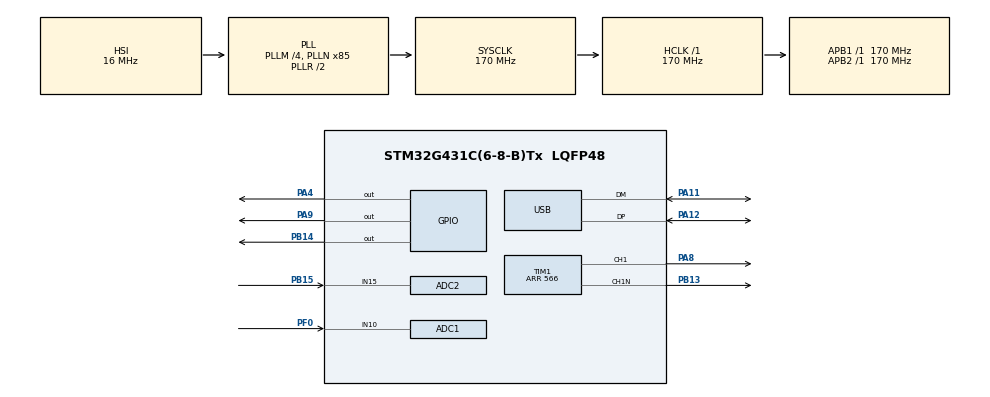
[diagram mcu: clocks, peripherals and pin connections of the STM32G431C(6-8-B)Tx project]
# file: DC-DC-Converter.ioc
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ADC1.Channel-1\#ChannelRegularConversion=ADC_CHANNEL_10
ADC1.ContinuousConvMode=DISABLE
ADC1.EOCSelection=ADC_EOC_SEQ_CONV
ADC1.ExternalTrigConv=ADC_EXTERNALTRIG_T1_TRGO
ADC1.Mode=ADC_DUALMODE_REGSIMULT
ADC1.NbrOfConversionFlag=1
ADC1.OffsetNumber-1\#ChannelRegularConversion=ADC_OFFSET_NONE
ADC1.Rank-1\#ChannelRegularConversion=1
ADC1.SamplingTime-1\#ChannelRegularConversion=ADC_SAMPLETIME_47CYCLES_5
ADC1.master=1
ADC2.Channel-0\#ChannelRegularConversion=ADC_CHANNEL_15
ADC2.ContinuousConvMode=DISABLE
ADC2.EOCSelection=ADC_EOC_SEQ_CONV
ADC2.Mode=ADC_DUALMODE_REGSIMULT
ADC2.NbrOfConversionFlag=1
ADC2.OffsetNumber-0\#ChannelRegularConversion=ADC_OFFSET_NONE
ADC2.Rank-0\#ChannelRegularConversion=1
ADC2.SamplingTime-0\#ChannelRegularConversion=ADC_SAMPLETIME_47CYCLES_5
Mcu.Family=STM32G4
Mcu.Name=STM32G431C(6-8-B)Tx
Mcu.Package=LQFP48
NVIC.PriorityGroup=NVIC_PRIORITYGROUP_4
NVIC.TIM1_UP_TIM16_IRQn=true\:0\:0\:false\:false\:true\:true\:true\:true
NVIC.USB_LP_IRQn=true\:0\:0\:false\:false\:true\:false\:true\:true
PA11.Mode=Device
PA11.Signal=USB_DM
PA12.Mode=Device
PA12.Signal=USB_DP
PA4.Signal=GPIO_Output
PA8.Signal=S_TIM1_CH1
PA9.Signal=GPIO_Output
PB13.Mode=PWM Generation1 CH1 CH1N
PB13.Signal=TIM1_CH1N
PB14.Signal=GPIO_Output
PB15.Mode=IN15-Single-Ended
PB15.Signal=ADC2_IN15
PF0-OSC_IN.Mode=IN10-Single-Ended
PF0-OSC_IN.Signal=ADC1_IN10
ProjectManager.HeapSize=0x200
ProjectManager.StackSize=0x400
ProjectManager.TargetToolchain=STM32CubeIDE
RCC.ADC12Freq_Value=170000000
RCC.AHBFreq_Value=170000000
RCC.APB1Freq_Value=170000000
RCC.APB1TimFreq_Value=170000000
RCC.APB2Freq_Value=170000000
RCC.APB2TimFreq_Value=170000000
RCC.CK48CLockSelection=RCC_USBCLKSOURCE_HSI48
RCC.CortexFreq_Value=170000000
RCC.EXTERNAL_CLOCK_VALUE=12288000
RCC.HCLKFreq_Value=170000000
RCC.HSE_VALUE=8000000
RCC.HSI48_VALUE=48000000
RCC.HSI_VALUE=16000000
RCC.LSE_VALUE=32768
RCC.PLLM=RCC_PLLM_DIV4
RCC.PLLN=85
RCC.SYSCLKFreq_VALUE=170000000
RCC.SYSCLKSource=RCC_SYSCLKSOURCE_PLLCLK
RCC.USBFreq_Value=48000000
RCC.VCOOutputFreq_Value=340000000
SH.S_TIM1_CH1.0=TIM1_CH1,PWM Generation1 CH1 CH1N
TIM1.AutoReloadPreload=TIM_AUTORELOAD_PRELOAD_ENABLE
TIM1.AutomaticOutput=TIM_AUTOMATICOUTPUT_ENABLE
TIM1.Channel-PWM\ Generation1\ CH1\ CH1N=TIM_CHANNEL_1
TIM1.DeadTime=20
TIM1.OffStateIDLEMode=TIM_OSSI_ENABLE
TIM1.OffStateRunMode=TIM_OSSR_ENABLE
TIM1.PeriodNoDither=566
TIM1.PulseNoDither_1=283
TIM1.TIM_MasterOutputTrigger=TIM_TRGO_UPDATE
USB_DEVICE.CLASS_NAME_FS=CDC
USB_DEVICE.VirtualMode=Cdc
USB_DEVICE.VirtualModeFS=Cdc_FS
VP_SYS_VS_DBSignals.Mode=DisableDeadBatterySignals
VP_TIM1_VS_ClockSourceINT.Mode=Internal
VP_USB_DEVICE_VS_USB_DEVICE_CDC_FS.Mode=CDC_FS
board=custom

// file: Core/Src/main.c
/* USER CODE BEGIN Header */
/**
  ******************************************************************************
  * @file           : main.c
  * @brief          : Buck-Boost DC/DC Converter
  ******************************************************************************
  */
/* USER CODE END Header */

#include "main.h"
#include "usb_device.h"
/* USER CODE BEGIN Includes */
#include "usbd_cdc_if.h"
#include <stdio.h>
#include <string.h>
/* USER CODE END Includes */

/* USER CODE BEGIN PTD */

/**
 * @brief Operating mode of the converter
 *
 * Only MODE_BUCK is currently implemented
 */
typedef enum {
    MODE_BUCK = 0,
    MODE_BOOST,
    MODE_BUCK_BOOST
} ConverterMode_t;

/**
 * @brief Internal state machine of the converter
 *
 * STATE_IDLE      : VIN below UVLO threshold — PWM off
 * STATE_SOFTSTART : PWM ramping up toward the target
 * STATE_RUNNING   : PI controller fully active
 */
typedef enum {
    STATE_IDLE = 0,
    STATE_SOFTSTART,
    STATE_RUNNING
} ConverterState_t;

/* USER CODE END PTD */

/* USER CODE BEGIN PD */

/* TIM1 period register (ARR) */
#define TIM1_ARR            566U

/* UVLO thresholds in mV */
#define UVLO_ON_MV          12000U
#define UVLO_OFF_MV         10000U

/* ADC conversion factors */
#define ADC_VREF_MV         3000.0f
#define ADC_FULL_SCALE      4095.0f
#define VIN_DIVIDER_FACTOR  13.4f
#define VOUT_DIVIDER_FACTOR 5.02f

/* VOUT limits in mV */
#define VOUT_MIN_MV         3000U
#define VOUT_MAX_MV         15000U

/* Boost maximum duty */
#define DUTY_BOOST_MAX      550

/* Soft-start: one duty step every N control-loop cycles */
#define SOFTSTART_STEP_PERIOD   4U

/* USB data send interval in ms */
#define USB_SEND_INTERVAL_MS    100U

/* USER CODE END PD */

ADC_HandleTypeDef hadc1;
ADC_HandleTypeDef hadc2;
TIM_HandleTypeDef htim1;

/* USER CODE BEGIN PV */

/* ── Converter configuration ─────────────────────────────────────────────── */
static ConverterMode_t  converter_mode  = MODE_BUCK;
static ConverterState_t converter_state = STATE_IDLE;

/* ── Measurements ────────────────────── */
volatile uint32_t vin_mv  = 0;
volatile uint32_t vout_mv = 0;

/* ── Setpoint (may be updated from USB) ──────────────────────────────────── */
volatile uint32_t vout_target_mv = 5000;

/* ── PI controller state ─────────────────────────────────────────────────── */
volatile float Kp             = 0.1f;
volatile float Ki             = 0.001f;
volatile float pi_integral    = 0.0f;
volatile float pi_integral_max = 100000.0f;

/* ── PWM duty cycle ─────────────────────────────────────── */
volatile int32_t duty = 0;

/* USER CODE END PV */

void SystemClock_Config(void);
static void MX_GPIO_Init(void);
static void MX_TIM1_Init(void);
static void MX_ADC1_Init(void);
static void MX_ADC2_Init(void);

/* USER CODE BEGIN PFP */
static void     mode_init(ConverterMode_t mode);
static void     measurements_update(void);
static uint8_t  uvlo_check(void);
static void     setpoint_check(void);
static int32_t  compute_feedforward(void);
static int32_t  pi_update(int32_t error);
static int32_t  duty_clamp(int32_t raw_duty);
static void     softstart_update(int32_t duty_target);
static void     pwm_apply(void);
static void     pwm_stop(void);
/* USER CODE END PFP */

/* USER CODE BEGIN 0 */

/**
 * @brief Configure GPIOs for the selected converter mode
 *
 * Buck  : Q3 (PA9) permanently ON, Q4 (PB14) permanently OFF
 *         Q1/Q2 switch via TIM1 CH1/CH1N
 * Boost : Q1 (PA8) permanently ON, Q2 (PB13) permanently OFF
 *         Q3/Q4 switch via TIM1 CH2/CH2N
 */
static void mode_init(ConverterMode_t mode)
{
    switch (mode)
    {
        case MODE_BUCK:
            HAL_GPIO_WritePin(GPIOA, GPIO_PIN_9,  GPIO_PIN_SET);   /* Q3 ON  */
            HAL_GPIO_WritePin(GPIOB, GPIO_PIN_14, GPIO_PIN_RESET); /* Q4 OFF */
            break;

        case MODE_BOOST:
            /* TODO */
            break;

        case MODE_BUCK_BOOST:
            /* TODO */
            break;
    }
}

/**
 * @brief Read ADC dual-simultaneous result and convert to millivolts
 *
 * CDR bits [15:0]  = ADC1 (VIN),  bits [31:16] = ADC2 (VOUT)
 */
static void measurements_update(void)
{
    uint32_t cdr = ADC12_COMMON->CDR;
    uint32_t vin_raw  = cdr & 0xFFFFU;
    uint32_t vout_raw = (cdr >> 16) & 0xFFFFU;

    vin_mv  = (uint32_t)(vin_raw  / ADC_FULL_SCALE * ADC_VREF_MV * VIN_DIVIDER_FACTOR);
    vout_mv = (uint32_t)(vout_raw / ADC_FULL_SCALE * ADC_VREF_MV * VOUT_DIVIDER_FACTOR);
}

/**
 * @brief Evaluate UVLO condition and update converter state accordingly
 *
 * @return 1 if the converter must stay in IDLE
 *         0 if VIN is within operating range
 */
static uint8_t uvlo_check(void)
{
    if (vin_mv >= UVLO_ON_MV)
    {
        if (converter_state == STATE_IDLE)
        {
            /* VIN just crossed the ON threshold — begin soft-start */
            duty         = 0;
            pi_integral  = 0.0f;
            converter_state = STATE_SOFTSTART;
        }
        return 0;
    }

    if (vin_mv < UVLO_OFF_MV)
    {
        converter_state = STATE_IDLE;
        duty            = 0;
        pi_integral     = 0.0f;
        pwm_stop();
        return 1;
    }

    /* Hysteresis band: keep current state */
    return (converter_state == STATE_IDLE) ? 1U : 0U;
}

/**
 * @brief Clamp vout_target_mv to valid range and relaunch soft-start whenever the setpoint changes
 */
static void setpoint_check(void)
{
    if (vout_target_mv < VOUT_MIN_MV) vout_target_mv = VOUT_MIN_MV;
    if (vout_target_mv > VOUT_MAX_MV) vout_target_mv = VOUT_MAX_MV;

    /* Boost: target must stay above VIN */
    if (converter_mode == MODE_BOOST && vout_target_mv < vin_mv + 500U)
        vout_target_mv = vin_mv + 500U;

    static uint32_t prev_target_mv = 0;
    if (vout_target_mv != prev_target_mv)
    {
        prev_target_mv  = vout_target_mv;
        converter_state = STATE_SOFTSTART;
    }
}

/**
 * @brief Compute the open-loop feedforward duty cycle for the active mode
 *
 * The feedforward provides a starting point close to the correct duty so the PI only needs to correct the residual error
 *
 * @return Raw feedforward duty (not yet clamped)
 */
static int32_t compute_feedforward(void)
{
    if (vin_mv == 0) return 0;

    switch (converter_mode)
    {
        case MODE_BUCK:
            return (int32_t)((float)vout_target_mv / (float)vin_mv * TIM1_ARR);

        case MODE_BOOST:
            return (int32_t)(TIM1_ARR - (float)vin_mv / (float)vout_target_mv * TIM1_ARR);

        case MODE_BUCK_BOOST:
            return (int32_t)((float)vout_target_mv / ((float)vin_mv + (float)vout_target_mv) * TIM1_ARR);

        default:
            return 0;
    }
}

/**
 * @brief Run one PI iteration
 *
 * The same PI algorithm is used for all converter modes. Only the feedforward is mode-dependent
 *
 * @return PI correction term (to be added to feedforward)
 */
static int32_t pi_update(int32_t error)
{
    int32_t p_term = (int32_t)(Kp * (float)error);

    pi_integral += Ki * (float)error;
    if (pi_integral >  pi_integral_max) pi_integral =  pi_integral_max;
    if (pi_integral < -pi_integral_max) pi_integral = -pi_integral_max;

    int32_t i_term = (int32_t)pi_integral;

    return p_term + i_term;
}

/**
 * @brief Clamp a raw duty value to the valid range for the active mode
 */
static int32_t duty_clamp(int32_t raw_duty)
{
    int32_t max_duty;

    switch (converter_mode)
    {
        case MODE_BOOST:
            max_duty = DUTY_BOOST_MAX;
            break;
        case MODE_BUCK:
        case MODE_BUCK_BOOST:
        default:
            max_duty = (int32_t)TIM1_ARR;
            break;
    }

    if (raw_duty < 0)        return 0;
    if (raw_duty > max_duty) return max_duty;
    return raw_duty;
}

/**
 * @brief Advance the duty cycle toward duty_target by one soft-start step
 *
 * While in STATE_SOFTSTART, duty moves ±1 every SOFTSTART_STEP_PERIOD control cycles
 * Once duty == duty_target the state transitions to STATE_RUNNING and full PI control takes over
 */
static void softstart_update(int32_t duty_target)
{
    static uint8_t step_counter = 0;
    step_counter++;
    if (step_counter >= SOFTSTART_STEP_PERIOD)
    {
        step_counter = 0;
        if      (duty < duty_target) duty++;
        else if (duty > duty_target) duty--;
        else                         converter_state = STATE_RUNNING;
    }
}

/**
 * @brief Write the current duty value to the appropriate CCR register
 */
static void pwm_apply(void)
{
    switch (converter_mode)
    {
        case MODE_BUCK:
            TIM1->CCR1 = (uint32_t)duty;
            break;

        case MODE_BOOST:
            TIM1->CCR2 = (uint32_t)duty;
            break;

        case MODE_BUCK_BOOST:
            /* TODO */
            break;
    }
}

/**
 * @brief Force all PWM outputs to zero (UVLO or fault condition)
 */
static void pwm_stop(void)
{
    TIM1->CCR1 = 0;
    TIM1->CCR2 = 0;
}

/**
 * @brief TIM1 period-elapsed ISR — main control loop (150 kHz)
 *
 */
void HAL_TIM_PeriodElapsedCallback(TIM_HandleTypeDef *htim)
{
    if (htim->Instance != TIM1) return;

    /* 1. Measurements */
    measurements_update();

    /* 2. UVLO */
    if (uvlo_check()) return;

    /* 3. Clamp setpoint + detect setpoint change */
    setpoint_check();

    /* 4. Feedforward + PI */
    int32_t duty_new = compute_feedforward()
                     + pi_update((int32_t)vout_target_mv - (int32_t)vout_mv);
    duty_new = duty_clamp(duty_new);

    /* 5. Apply duty */
    if (converter_state == STATE_SOFTSTART)
        softstart_update(duty_new);
    else
        duty = duty_new;

    /* 6. Apply */
    pwm_apply();
}

/* USER CODE END 0 */

int main(void)
{

    HAL_Init();

    SystemClock_Config();

    MX_GPIO_Init();
    MX_USB_Device_Init();
    MX_TIM1_Init();
    MX_ADC1_Init();
    MX_ADC2_Init();

    /* USER CODE BEGIN 2 */

    /* Configure GPIOs for the selected mode */
    mode_init(converter_mode);

    /* Start PWM outputs */
    HAL_TIM_PWM_Start(&htim1, TIM_CHANNEL_1);
    HAL_TIMEx_PWMN_Start(&htim1, TIM_CHANNEL_1);

    /* Start control-loop interrupt */
    HAL_TIM_Base_Start_IT(&htim1);

    /* Release PF0 (ADC1_IN10 / VIN) from HSE oscillator function */
    RCC->CR &= ~RCC_CR_HSEON;

    /* Calibrate and start ADC in dual simultaneous mode */
    HAL_ADCEx_Calibration_Start(&hadc1, ADC_SINGLE_ENDED);
    HAL_ADCEx_Calibration_Start(&hadc2, ADC_SINGLE_ENDED);
    HAL_ADC_Start(&hadc2);
    HAL_ADC_Start(&hadc1);

    uint32_t last_usb_send = 0;

    /* USER CODE END 2 */

    while (1)
    {

        /* USER CODE BEGIN 3 */

        /* USB data sent to web dashboard */
        if (HAL_GetTick() - last_usb_send >= USB_SEND_INTERVAL_MS)
        {
            last_usb_send = HAL_GetTick();

            char msg[80];
            sprintf(msg, "VIN:%u VOUT:%u TARGET:%u DUTY:%d\r\n",
                    (unsigned int)vin_mv,
                    (unsigned int)vout_mv,
                    (unsigned int)vout_target_mv,
                    (int)duty);
            CDC_Transmit_FS((uint8_t*)msg, strlen(msg));
        }

        /* USER CODE END 3 */
    }
}

void SystemClock_Config(void)
{
    RCC_OscInitTypeDef RCC_OscInitStruct = {0};
    RCC_ClkInitTypeDef RCC_ClkInitStruct = {0};

    HAL_PWREx_ControlVoltageScaling(PWR_REGULATOR_VOLTAGE_SCALE1_BOOST);

    RCC_OscInitStruct.OscillatorType      = RCC_OSCILLATORTYPE_HSI
                                          | RCC_OSCILLATORTYPE_HSI48;
    RCC_OscInitStruct.HSIState            = RCC_HSI_ON;
    RCC_OscInitStruct.HSICalibrationValue = RCC_HSICALIBRATION_DEFAULT;
    RCC_OscInitStruct.HSI48State          = RCC_HSI48_ON;
    RCC_OscInitStruct.PLL.PLLState        = RCC_PLL_ON;
    RCC_OscInitStruct.PLL.PLLSource       = RCC_PLLSOURCE_HSI;
    RCC_OscInitStruct.PLL.PLLM            = RCC_PLLM_DIV4;
    RCC_OscInitStruct.PLL.PLLN            = 85;
    RCC_OscInitStruct.PLL.PLLP            = RCC_PLLP_DIV2;
    RCC_OscInitStruct.PLL.PLLQ            = RCC_PLLQ_DIV2;
    RCC_OscInitStruct.PLL.PLLR            = RCC_PLLR_DIV2;
    if (HAL_RCC_OscConfig(&RCC_OscInitStruct) != HAL_OK) Error_Handler();

    RCC_ClkInitStruct.ClockType      = RCC_CLOCKTYPE_HCLK  | RCC_CLOCKTYPE_SYSCLK
                                     | RCC_CLOCKTYPE_PCLK1 | RCC_CLOCKTYPE_PCLK2;
    RCC_ClkInitStruct.SYSCLKSource   = RCC_SYSCLKSOURCE_PLLCLK;
    RCC_ClkInitStruct.AHBCLKDivider  = RCC_SYSCLK_DIV1;
    RCC_ClkInitStruct.APB1CLKDivider = RCC_HCLK_DIV1;
    RCC_ClkInitStruct.APB2CLKDivider = RCC_HCLK_DIV1;
    if (HAL_RCC_ClockConfig(&RCC_ClkInitStruct, FLASH_LATENCY_4) != HAL_OK)
        Error_Handler();
}

static void MX_ADC1_Init(void)
{
    ADC_MultiModeTypeDef  multimode = {0};
    ADC_ChannelConfTypeDef sConfig  = {0};

    hadc1.Instance                   = ADC1;
    hadc1.Init.ClockPrescaler        = ADC_CLOCK_SYNC_PCLK_DIV4;
    hadc1.Init.Resolution            = ADC_RESOLUTION_12B;
    hadc1.Init.DataAlign             = ADC_DATAALIGN_RIGHT;
    hadc1.Init.GainCompensation      = 0;
    hadc1.Init.ScanConvMode          = ADC_SCAN_DISABLE;
    hadc1.Init.EOCSelection          = ADC_EOC_SEQ_CONV;
    hadc1.Init.LowPowerAutoWait      = DISABLE;
    hadc1.Init.ContinuousConvMode    = DISABLE;
    hadc1.Init.NbrOfConversion       = 1;
    hadc1.Init.DiscontinuousConvMode = DISABLE;
    hadc1.Init.ExternalTrigConv      = ADC_EXTERNALTRIG_T1_TRGO;
    hadc1.Init.ExternalTrigConvEdge  = ADC_EXTERNALTRIGCONVEDGE_RISING;
    hadc1.Init.DMAContinuousRequests = DISABLE;
    hadc1.Init.Overrun               = ADC_OVR_DATA_OVERWRITTEN;
    hadc1.Init.OversamplingMode      = DISABLE;
    if (HAL_ADC_Init(&hadc1) != HAL_OK) Error_Handler();

    multimode.Mode             = ADC_DUALMODE_REGSIMULT;
    multimode.DMAAccessMode    = ADC_DMAACCESSMODE_DISABLED;
    multimode.TwoSamplingDelay = ADC_TWOSAMPLINGDELAY_1CYCLE;
    if (HAL_ADCEx_MultiModeConfigChannel(&hadc1, &multimode) != HAL_OK)
        Error_Handler();

    sConfig.Channel      = ADC_CHANNEL_10;       /* PF0 — VIN */
    sConfig.Rank         = ADC_REGULAR_RANK_1;
    sConfig.SamplingTime = ADC_SAMPLETIME_47CYCLES_5;
    sConfig.SingleDiff   = ADC_SINGLE_ENDED;
    sConfig.OffsetNumber = ADC_OFFSET_NONE;
    sConfig.Offset       = 0;
    if (HAL_ADC_ConfigChannel(&hadc1, &sConfig) != HAL_OK) Error_Handler();
}

static void MX_ADC2_Init(void)
{
    ADC_ChannelConfTypeDef sConfig = {0};

    hadc2.Instance                   = ADC2;
    hadc2.Init.ClockPrescaler        = ADC_CLOCK_SYNC_PCLK_DIV4;
    hadc2.Init.Resolution            = ADC_RESOLUTION_12B;
    hadc2.Init.DataAlign             = ADC_DATAALIGN_RIGHT;
    hadc2.Init.GainCompensation      = 0;
    hadc2.Init.ScanConvMode          = ADC_SCAN_DISABLE;
    hadc2.Init.EOCSelection          = ADC_EOC_SEQ_CONV;
    hadc2.Init.LowPowerAutoWait      = DISABLE;
    hadc2.Init.ContinuousConvMode    = DISABLE;
    hadc2.Init.NbrOfConversion       = 1;
    hadc2.Init.DiscontinuousConvMode = DISABLE;
    hadc2.Init.DMAContinuousRequests = DISABLE;
    hadc2.Init.Overrun               = ADC_OVR_DATA_OVERWRITTEN;
    hadc2.Init.OversamplingMode      = DISABLE;
    if (HAL_ADC_Init(&hadc2) != HAL_OK) Error_Handler();

    sConfig.Channel      = ADC_CHANNEL_15;       /* PB15 — VOUT */
    sConfig.Rank         = ADC_REGULAR_RANK_1;
    sConfig.SamplingTime = ADC_SAMPLETIME_47CYCLES_5;
    sConfig.SingleDiff   = ADC_SINGLE_ENDED;
    sConfig.OffsetNumber = ADC_OFFSET_NONE;
    sConfig.Offset       = 0;
    if (HAL_ADC_ConfigChannel(&hadc2, &sConfig) != HAL_OK) Error_Handler();
}

static void MX_TIM1_Init(void)
{
    TIM_ClockConfigTypeDef       sClockSourceConfig = {0};
    TIM_MasterConfigTypeDef      sMasterConfig      = {0};
    TIM_OC_InitTypeDef           sConfigOC          = {0};
    TIM_BreakDeadTimeConfigTypeDef sBreakDeadTimeConfig = {0};

    htim1.Instance               = TIM1;
    htim1.Init.Prescaler         = 0;
    htim1.Init.CounterMode       = TIM_COUNTERMODE_UP;
    htim1.Init.Period            = TIM1_ARR;
    htim1.Init.ClockDivision     = TIM_CLOCKDIVISION_DIV1;
    htim1.Init.RepetitionCounter = 1;           /* ISR at 150 kHz */
    htim1.Init.AutoReloadPreload = TIM_AUTORELOAD_PRELOAD_ENABLE;
    if (HAL_TIM_Base_Init(&htim1) != HAL_OK) Error_Handler();

    sClockSourceConfig.ClockSource = TIM_CLOCKSOURCE_INTERNAL;
    if (HAL_TIM_ConfigClockSource(&htim1, &sClockSourceConfig) != HAL_OK)
        Error_Handler();

    if (HAL_TIM_PWM_Init(&htim1) != HAL_OK) Error_Handler();

    sMasterConfig.MasterOutputTrigger  = TIM_TRGO_UPDATE; /* ADC trigger */
    sMasterConfig.MasterOutputTrigger2 = TIM_TRGO2_RESET;
    sMasterConfig.MasterSlaveMode      = TIM_MASTERSLAVEMODE_DISABLE;
    if (HAL_TIMEx_MasterConfigSynchronization(&htim1, &sMasterConfig) != HAL_OK)
        Error_Handler();

    sConfigOC.OCMode       = TIM_OCMODE_PWM1;
    sConfigOC.Pulse        = 283;
    sConfigOC.OCPolarity   = TIM_OCPOLARITY_HIGH;
    sConfigOC.OCNPolarity  = TIM_OCNPOLARITY_HIGH;
    sConfigOC.OCFastMode   = TIM_OCFAST_DISABLE;
    sConfigOC.OCIdleState  = TIM_OCIDLESTATE_RESET;
    sConfigOC.OCNIdleState = TIM_OCNIDLESTATE_RESET;
    if (HAL_TIM_PWM_ConfigChannel(&htim1, &sConfigOC, TIM_CHANNEL_1) != HAL_OK)
        Error_Handler();

    sBreakDeadTimeConfig.OffStateRunMode  = TIM_OSSR_ENABLE;
    sBreakDeadTimeConfig.OffStateIDLEMode = TIM_OSSI_ENABLE;
    sBreakDeadTimeConfig.LockLevel        = TIM_LOCKLEVEL_OFF;
    sBreakDeadTimeConfig.DeadTime         = 20; /* ~118 ns @ 170 MHz */
    sBreakDeadTimeConfig.BreakState       = TIM_BREAK_DISABLE;
    sBreakDeadTimeConfig.BreakPolarity    = TIM_BREAKPOLARITY_HIGH;
    sBreakDeadTimeConfig.BreakFilter      = 0;
    sBreakDeadTimeConfig.BreakAFMode      = TIM_BREAK_AFMODE_INPUT;
    sBreakDeadTimeConfig.Break2State      = TIM_BREAK2_DISABLE;
    sBreakDeadTimeConfig.Break2Polarity   = TIM_BREAK2POLARITY_HIGH;
    sBreakDeadTimeConfig.Break2Filter     = 0;
    sBreakDeadTimeConfig.Break2AFMode     = TIM_BREAK_AFMODE_INPUT;
    sBreakDeadTimeConfig.AutomaticOutput  = TIM_AUTOMATICOUTPUT_ENABLE;
    if (HAL_TIMEx_ConfigBreakDeadTime(&htim1, &sBreakDeadTimeConfig) != HAL_OK)
        Error_Handler();

    HAL_TIM_MspPostInit(&htim1);
}

static void MX_GPIO_Init(void)
{
    GPIO_InitTypeDef GPIO_InitStruct = {0};

    __HAL_RCC_GPIOF_CLK_ENABLE();
    __HAL_RCC_GPIOA_CLK_ENABLE();
    __HAL_RCC_GPIOB_CLK_ENABLE();

    /* PA4 = status LED (unused for now) */
    HAL_GPIO_WritePin(GPIOA, GPIO_PIN_4 | GPIO_PIN_9, GPIO_PIN_RESET);
    HAL_GPIO_WritePin(GPIOB, GPIO_PIN_13 | GPIO_PIN_14, GPIO_PIN_RESET);

    GPIO_InitStruct.Pin   = GPIO_PIN_4 | GPIO_PIN_9;
    GPIO_InitStruct.Mode  = GPIO_MODE_OUTPUT_PP;
    GPIO_InitStruct.Pull  = GPIO_NOPULL;
    GPIO_InitStruct.Speed = GPIO_SPEED_FREQ_LOW;
    HAL_GPIO_Init(GPIOA, &GPIO_InitStruct);

    GPIO_InitStruct.Pin   = GPIO_PIN_13 | GPIO_PIN_14;
    GPIO_InitStruct.Mode  = GPIO_MODE_OUTPUT_PP;
    GPIO_InitStruct.Pull  = GPIO_NOPULL;
    GPIO_InitStruct.Speed = GPIO_SPEED_FREQ_LOW;
    HAL_GPIO_Init(GPIOB, &GPIO_InitStruct);
}

void Error_Handler(void)
{
    __disable_irq();
    while (1) {}
}
